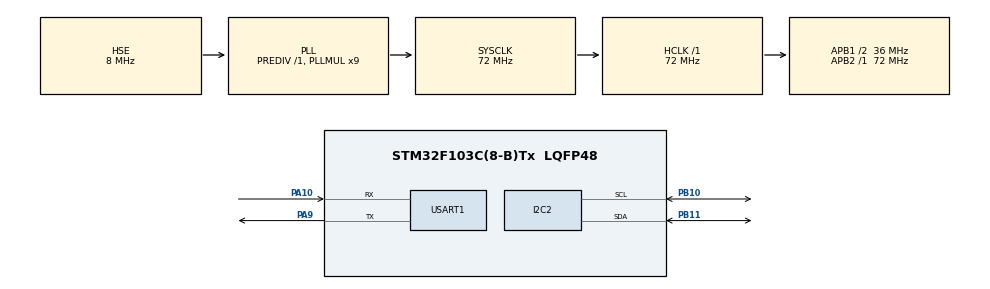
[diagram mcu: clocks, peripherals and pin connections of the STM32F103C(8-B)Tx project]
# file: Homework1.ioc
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Mcu.Family=STM32F1
Mcu.Name=STM32F103C(8-B)Tx
Mcu.Package=LQFP48
NVIC.PriorityGroup=NVIC_PRIORITYGROUP_4
PA10.Mode=Asynchronous
PA10.Signal=USART1_RX
PA13.Mode=Serial_Wire
PA13.Signal=SYS_JTMS-SWDIO
PA14.Mode=Serial_Wire
PA14.Signal=SYS_JTCK-SWCLK
PA9.Mode=Asynchronous
PA9.Signal=USART1_TX
PB10.Mode=I2C
PB10.Signal=I2C2_SCL
PB11.Mode=I2C
PB11.Signal=I2C2_SDA
PD0-OSC_IN.Mode=HSE-External-Oscillator
PD0-OSC_IN.Signal=RCC_OSC_IN
PD1-OSC_OUT.Mode=HSE-External-Oscillator
PD1-OSC_OUT.Signal=RCC_OSC_OUT
ProjectManager.HeapSize=0x200
ProjectManager.StackSize=0x400
ProjectManager.TargetToolchain=CMake
RCC.AHBFreq_Value=72000000
RCC.APB1CLKDivider=RCC_HCLK_DIV2
RCC.APB1Freq_Value=36000000
RCC.APB1TimFreq_Value=72000000
RCC.APB2Freq_Value=72000000
RCC.APB2TimFreq_Value=72000000
RCC.HCLKFreq_Value=72000000
RCC.PLLMUL=RCC_PLL_MUL9
RCC.PLLSourceVirtual=RCC_PLLSOURCE_HSE
RCC.SYSCLKFreq_VALUE=72000000
RCC.SYSCLKSource=RCC_SYSCLKSOURCE_PLLCLK
RCC.USBFreq_Value=72000000
USART1.VirtualMode=VM_ASYNC
board=custom

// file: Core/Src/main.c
/* USER CODE BEGIN Header */
/**
  ******************************************************************************
  * @file           : main.c
  * @brief          : Main program body
  ******************************************************************************
  * @attention
  *
  * Copyright (c) 2026 STMicroelectronics.
  * All rights reserved.
  *
  * This software is licensed under terms that can be found in the LICENSE file
  * in the root directory of this software component.
  * If no LICENSE file comes with this software, it is provided AS-IS.
  *
  ******************************************************************************
  */
/* USER CODE END Header */
#include "main.h"
#include "i2c.h"
#include "usart.h"
#include "gpio.h"

/* USER CODE BEGIN Includes */
#include <stdio.h>
#include "mpu6050.h"
#include <math.h>
/* USER CODE END Includes */

/* USER CODE BEGIN PV */
MPU6050_Data d;
float bias_gx, bias_gy, bias_gz;
float bias_ax, bias_ay, bias_az;
float roll = 0.0, pitch = 0.0;
uint32_t last_tick;
float alpha = 0.98f;
float roll_acc = 0.0;
float pitch_acc = 0.0;
float roll_gyro = 0.0;
float pitch_gyro = 0.0;
/* USER CODE END PV */

void SystemClock_Config(void);

int main(void)
{

  /* MCU Configuration--------------------------------------------------------*/

  /* Reset of all peripherals, Initializes the Flash interface and the Systick. */
  HAL_Init();

  /* Configure the system clock */
  SystemClock_Config();

  /* Initialize all configured peripherals */
  MX_GPIO_Init();
  MX_I2C2_Init();
  MX_USART1_UART_Init();
  /* USER CODE BEGIN 2 */
  int cnt = 0;
  setvbuf(stdout, NULL, _IONBF, 0);
  printf("init = %d\r\n", MPU6050_Init(&hi2c2));
  for (int i=0; i < 500; i++) {
    MPU6050_Data bias ={0};
    MPU6050_Read(&hi2c2,&bias);
    bias_gx += bias.gx;
    bias_gy += bias.gy;
    bias_gz += bias.gz;
    bias_ax += bias.ax;
    bias_ay += bias.ay;
    bias_az += bias.az;

    HAL_Delay(4);
  }
  bias_gx /= 500.0f;
  bias_gy /= 500.0f;
  bias_gz /= 500.0f;

  bias_ax /= 500.0f;
  bias_ay /= 500.0f;
  bias_az /= 500.0f;
  bias_az -= 1.0f;

  MPU6050_Read(&hi2c2, &d);
  d.ax -= bias_ax;
  d.ay -= bias_ay;
  d.az -= bias_az;
  roll  = atan2f(d.ay, d.az) * 57.29578f;
  pitch = atan2f(-d.ax, sqrtf(d.ay * d.ay +d.az * d.az)) * 57.29578f;
  roll_gyro = roll;
  pitch_gyro = pitch;
  last_tick = HAL_GetTick();
  /* USER CODE END 2 */

  /* Infinite loop */
  while (1)
  {

    /* USER CODE BEGIN 3 */
    uint32_t now = HAL_GetTick();
    float dt = (now - last_tick) / 1000.0f;
    last_tick = now;
    MPU6050_Read(&hi2c2, &d);
    d.gx -= bias_gx;
    d.gy -= bias_gy;
    d.gz -= bias_gz;
    d.ax -= bias_ax;
    d.ay -= bias_ay;
    d.az -= bias_az;
    roll_acc  = atan2f(d.ay, d.az) * 57.29578f;
    pitch_acc = atan2f(-d.ax, sqrtf(d.ay * d.ay +d.az * d.az)) * 57.29578f;
    roll_gyro += d.gx * dt;
    pitch_gyro += d.gy * dt;
    roll  = alpha * (roll  + d.gx * dt) + (1 - alpha) * roll_acc;
    pitch = alpha * (pitch + d.gy * dt) + (1 - alpha) * pitch_acc;

    if (++cnt >= 10) {
      cnt = 0;
      printf("%.2f,%.2f,%.2f,%.2f,%.2f,%.2f\r\n",
       roll_acc, pitch_acc, roll_gyro, pitch_gyro, roll, pitch);
    }
    HAL_Delay(5);
  }

  /* USER CODE END 3 */
}

void SystemClock_Config(void)
{
  RCC_OscInitTypeDef RCC_OscInitStruct = {0};
  RCC_ClkInitTypeDef RCC_ClkInitStruct = {0};

  /** Initializes the RCC Oscillators according to the specified parameters
  * in the RCC_OscInitTypeDef structure.
  */
  RCC_OscInitStruct.OscillatorType = RCC_OSCILLATORTYPE_HSE;
  RCC_OscInitStruct.HSEState = RCC_HSE_ON;
  RCC_OscInitStruct.HSEPredivValue = RCC_HSE_PREDIV_DIV1;
  RCC_OscInitStruct.HSIState = RCC_HSI_ON;
  RCC_OscInitStruct.PLL.PLLState = RCC_PLL_ON;
  RCC_OscInitStruct.PLL.PLLSource = RCC_PLLSOURCE_HSE;
  RCC_OscInitStruct.PLL.PLLMUL = RCC_PLL_MUL9;
  if (HAL_RCC_OscConfig(&RCC_OscInitStruct) != HAL_OK)
  {
    Error_Handler();
  }

  /** Initializes the CPU, AHB and APB buses clocks
  */
  RCC_ClkInitStruct.ClockType = RCC_CLOCKTYPE_HCLK|RCC_CLOCKTYPE_SYSCLK
                              |RCC_CLOCKTYPE_PCLK1|RCC_CLOCKTYPE_PCLK2;
  RCC_ClkInitStruct.SYSCLKSource = RCC_SYSCLKSOURCE_PLLCLK;
  RCC_ClkInitStruct.AHBCLKDivider = RCC_SYSCLK_DIV1;
  RCC_ClkInitStruct.APB1CLKDivider = RCC_HCLK_DIV2;
  RCC_ClkInitStruct.APB2CLKDivider = RCC_HCLK_DIV1;

  if (HAL_RCC_ClockConfig(&RCC_ClkInitStruct, FLASH_LATENCY_2) != HAL_OK)
  {
    Error_Handler();
  }
}

/* USER CODE BEGIN 4 */
int __io_putchar(int ch) {
  HAL_UART_Transmit(&huart1, (uint8_t*)&ch, 1, 10);
  return ch;
}
/* USER CODE END 4 */

void Error_Handler(void)
{
  __disable_irq();
  while (1)
  {
  }
}
